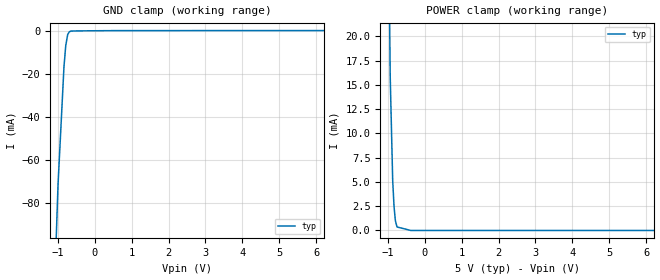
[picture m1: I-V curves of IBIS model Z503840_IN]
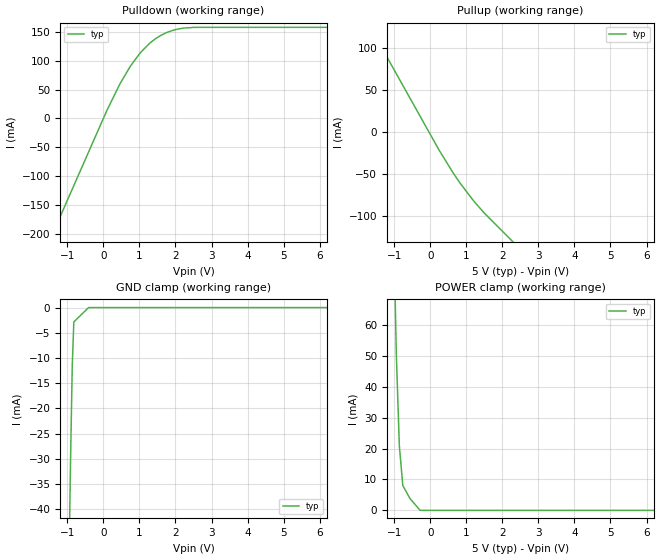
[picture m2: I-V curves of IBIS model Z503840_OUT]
| YOU ARE ONLY AUTHORIZED TO USE THIS SOFTWARE
| ACCORDING TO LICENSOR'S LICENSE RESTRICTIONS.
[IBIS Ver] 3.1
[File Name] mc74act163n.ibs
[File Rev] 2.0
[Source] Measured and created by ICX Technology
[Date] Friday 7/14/00 9:08:01 AM
[Copyright]
| (C) COPYRIGHT 1993-2000
| MENTOR GRAPHICS CORPORATION
| ICX STANDARD LIBRARY, ICX PROJECT MODELING,
| ICX CUSTOM MODELING, ICX VENDOR MODEL
| ALL RIGHTS RESERVED.
| THE FOLLOWING ARE TRADEMARKS OR SERVICE MARKS OF
| MENTOR GRAPHICS CORPORATION:ICX (R), ICX STANDARD
| LIBRARY(R), ICX PROJECT MODELING(R), ICX CUSTOM
| MODELING(R), qualityIBIS(TM), MODELVIEWER(TM),
| AND MODELEDITOR(TM)
| ALL COPIES OF SOFTWARE, INCLUDING BUT NOT LIMITED TO
| ANY MODIFICATIONS, ENHANCEMENTS OR DERIVATIVE WORKS,
| MUST CONTAIN ALL MENTOR GRAPHICS CORPORATION'S
| NOTICES AND LEGENDS, INCLUDING THOSE EMBEDDED IN
| SOFTWARE AND THOSE AFFIXED TO SOFTWARE MEDIUM
| AND CONTAINER, AS RECEIVED FROM MENTOR GRAPHICS
| CORPORATION.
|  ZAP Model Builder 2.7
[Component] MC74ACT163N
[Manufacturer] OnSemiconductor
[Package]
| variable   typ   min   max
R_pkg  .212ohms NA NA
L_pkg  4.758nH NA NA
C_pkg  1.143pF NA NA
[Pin] signal_name  model_name  R_pin  L_pin C_pin
1 _CLR Z503840_IN .224 7.258n 1.578p
2 CLK Z503840_IN .216 5.258n 1.288p
3 A Z503840_IN .208 3.758n .998p
4 B Z503840_IN .2 2.758n .708p
5 C Z503840_IN .2 2.758n .708p
6 D Z503840_IN .208 3.758n .998p
7 ENP Z503840_IN .216 5.258n 1.288p
8 GND GND .224 7.258n 1.578p
9 _LOAD Z503840_IN .224 7.258n 1.578p
10 ENT Z503840_IN .216 5.258n 1.288p
11 QD Z503840_OUT .208 3.758n .998p
12 QC Z503840_OUT .2 2.758n .708p
13 QB Z503840_OUT .2 2.758n .708p
14 QA Z503840_OUT .208 3.758n .998p
15 RCO Z503840_OUT .216 5.258n 1.288p
16 VCC POWER .224 7.258n 1.578p
| Models and submodels in the file (2): Z503840_IN (Input), Z503840_OUT (Output)
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| (C) COPYRIGHT 1993-2000
| MENTOR GRAPHICS CORPORATION
| ICX STANDARD LIBRARY, ICX PROJECT MODELING,
| ICX CUSTOM MODELING, ICX VENDOR MODEL
| ALL RIGHTS RESERVED.
| THE FOLLOWING ARE TRADEMARKS OR SERVICE MARKS OF
| MENTOR GRAPHICS CORPORATION:ICX (R), ICX STANDARD
| LIBRARY(R), ICX PROJECT MODELING(R), ICX CUSTOM
| MODELING(R), qualityIBIS(TM), MODELVIEWER(TM),
| AND MODELEDITOR(TM)
| ALL COPIES OF SOFTWARE, INCLUDING BUT NOT LIMITED TO
| ANY MODIFICATIONS, ENHANCEMENTS OR DERIVATIVE WORKS,
| MUST CONTAIN ALL MENTOR GRAPHICS CORPORATION'S
| NOTICES AND LEGENDS, INCLUDING THOSE EMBEDDED IN
| SOFTWARE AND THOSE AFFIXED TO SOFTWARE MEDIUM
| AND CONTAINER, AS RECEIVED FROM MENTOR GRAPHICS
| CORPORATION.
| Model Application Version 1.89 2/18/99.
[Model] Z503840_IN
Model_type Input
Vinl = 800.0mV
Vinh = 2.000V
C_comp 4.000pF NA NA
| variable typ   min   max
[Voltage Range] 5.000V NA NA
[GND Clamp Reference] 0.000V NA NA
[POWER Clamp Reference] 5.000V NA NA
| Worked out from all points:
|   GND clamp passes 1 mA (typ) near -0.71 V on its own axis
|   POWER clamp passes 1 mA (typ) near -0.79 V on its own axis
[GND Clamp]
-5V       -2.838A    NA         NA
-1.069V   -111.4mA   NA         NA
-989.8mV  -71.38mA   NA         NA
-829.8mV  -16.76mA   NA         NA
-781.2mV  -6.78mA    NA         NA
-727.7mV  -1.585mA   NA         NA
-684.1mV  -428.3uA   NA         NA
-645.1mV  -71.33uA   NA         NA
10V       170.7uA    NA         NA
[POWER Clamp]
-5V       3.291A     NA         NA
-1.128V   113.7mA    NA         NA
-1.019V   47.68mA    NA         NA
-931mV    15.84mA    NA         NA
-864mV    5.148mA    NA         NA
-828mV    2.479mA    NA         NA
-791mV    1.004mA    NA         NA
-747mV    362.3uA    NA         NA
-373.5mV  0A         NA         NA
10V       0A         NA         NA
| (C) COPYRIGHT 1993-2000
| MENTOR GRAPHICS CORPORATION
| ICX STANDARD LIBRARY, ICX PROJECT MODELING,
| ICX CUSTOM MODELING, ICX VENDOR MODEL
| ALL RIGHTS RESERVED.
| THE FOLLOWING ARE TRADEMARKS OR SERVICE MARKS OF
| MENTOR GRAPHICS CORPORATION:ICX (R), ICX STANDARD
| LIBRARY(R), ICX PROJECT MODELING(R), ICX CUSTOM
| MODELING(R), qualityIBIS(TM), MODELVIEWER(TM),
| AND MODELEDITOR(TM)
| ALL COPIES OF SOFTWARE, INCLUDING BUT NOT LIMITED TO
| ANY MODIFICATIONS, ENHANCEMENTS OR DERIVATIVE WORKS,
| MUST CONTAIN ALL MENTOR GRAPHICS CORPORATION'S
| NOTICES AND LEGENDS, INCLUDING THOSE EMBEDDED IN
| SOFTWARE AND THOSE AFFIXED TO SOFTWARE MEDIUM
| AND CONTAINER, AS RECEIVED FROM MENTOR GRAPHICS
| CORPORATION.
| Model Application Version 1.89 2/18/99.
[Model] Z503840_OUT
Model_type Output
Vref=0.000V
Rref=500.0ohms
Cref=50.00pF
Vmeas=1.500V
C_comp 8.000pF NA NA
| variable typ   min   max
[Voltage Range] 5.000V NA NA
[POWER Clamp Reference] 5.000V NA NA
[Pullup Reference] 5.000V NA NA
[Pulldown Reference] 0.000V NA NA
[GND Clamp Reference] 0.000V NA NA
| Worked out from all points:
|   slope of the pulldown table from 0 to 0.75 V, typ, clamps not added: 8.28 ohm
|   slope of the pullup table from 0 to 0.75 V, typ, clamps not added: 14.1 ohm
[GND Clamp]
-5V       -1.979A    NA         NA
-913.1mV  -30.96mA   NA         NA
-863.8mV  -11.47mA   NA         NA
-820.3mV  -2.849mA   NA         NA
-410.1mV  0A         NA         NA
10V       0A         NA         NA
[Pulldown]
-5V       -710.5mA   NA         NA
92.77mV   13.33mA    NA         NA
462.2mV   60.38mA    NA         NA
748.3mV   90.61mA    NA         NA
1.021V    113.7mA    NA         NA
1.285V    130.5mA    NA         NA
1.455V    138.7mA    NA         NA
1.743V    148.7mA    NA         NA
2.076V    155.1mA    NA         NA
2.491V    157.9mA    NA         NA
10V       158mA      NA         NA
[Pullup]
-5V       381.3mA    NA         NA
241mV     -21.27mA   NA         NA
630mV     -48.42mA   NA         NA
817mV     -60.33mA   NA         NA
1.211V    -82.58mA   NA         NA
1.499V    -96.65mA   NA         NA
10V       -463.7mA   NA         NA
[POWER Clamp]
-5V       2.936A     NA         NA
-1.06V    116.6mA    NA         NA
-942mV    50.51mA    NA         NA
-858mV    20.83mA    NA         NA
-762mV    8.033mA    NA         NA
-565mV    3.864mA    NA         NA
-282.5mV  0A         NA         NA
10V       0A         NA         NA
[Ramp]
| variable typ min max
dV/dt_r 2.945/323.3p NA NA
dV/dt_f 2.945/408.4p NA NA
R_load = 500.0Ohms
